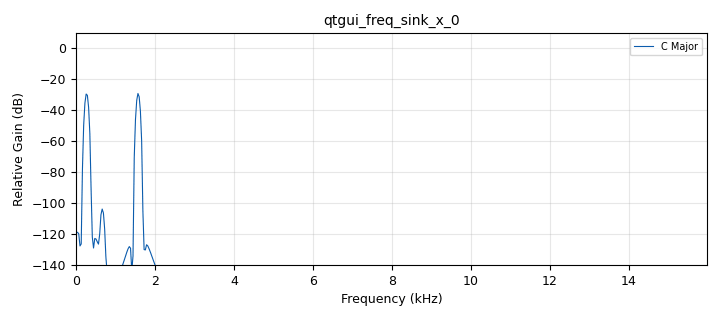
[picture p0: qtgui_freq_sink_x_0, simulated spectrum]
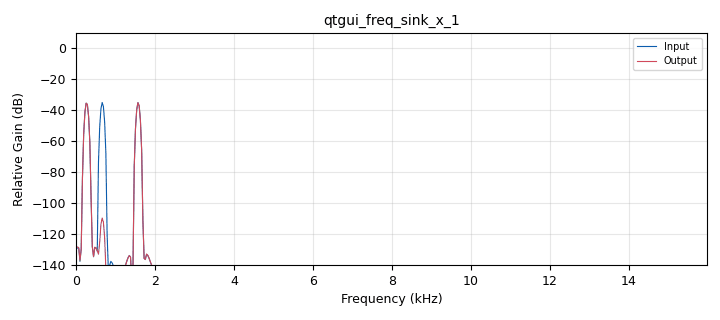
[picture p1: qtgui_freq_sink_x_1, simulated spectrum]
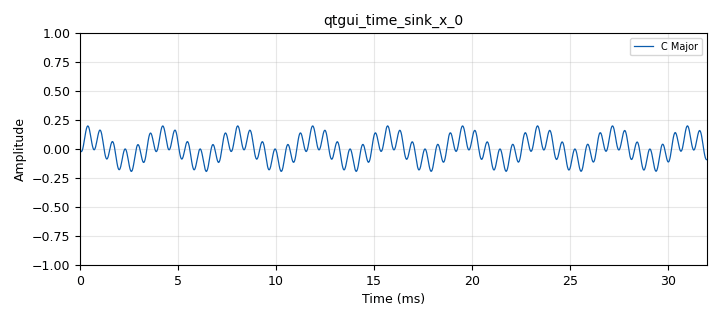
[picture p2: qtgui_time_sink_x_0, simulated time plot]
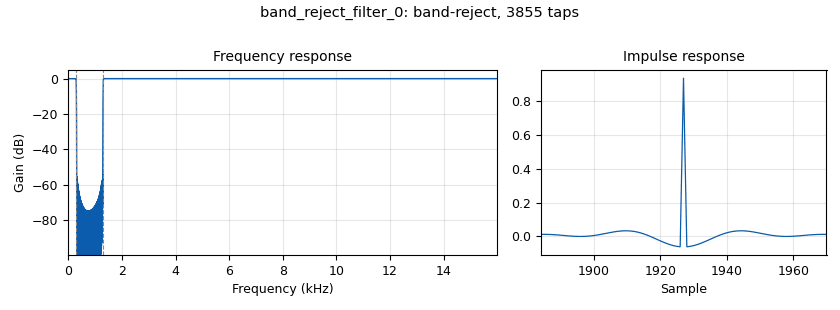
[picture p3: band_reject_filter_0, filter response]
options:
  parameters:
    generate_options: qt_gui
    id: cmajor_fft_brf
    output_language: python
    title: cmajor fft brf
  states: {}

blocks:
- name: Freq
  id: variable_qtgui_entry
  parameters:
    type: real
    value: '200'
  states: {}
- name: high_cutoff
  id: variable_qtgui_range
  parameters:
    label: high_cutoff
    start: '1'
    step: '1'
    stop: 15e3
    value: 1.3e3
  states: {}
- name: low_cutoff
  id: variable_qtgui_range
  parameters:
    label: low_cutoff
    start: '100'
    step: '1'
    stop: 15e3
    value: '300'
  states: {}
- name: samp_rate
  id: variable
  parameters:
    value: '32000'
  states: {}
- name: transition_width
  id: variable_qtgui_range
  parameters:
    label: transition_width
    start: '1'
    step: '1'
    stop: 15e3
    value: '20'
  states: {}
- name: analog_sig_source_x_0
  id: analog_sig_source_x
  parameters:
    amp: '0.1'
    freq: '261.6'
    offset: '0'
    phase: '0'
    samp_rate: samp_rate
    type: float
    waveform: analog.GR_COS_WAVE
  states: {}
- name: analog_sig_source_x_0_0
  id: analog_sig_source_x
  parameters:
    amp: '0.1'
    freq: '1568'
    offset: '0'
    phase: '0'
    samp_rate: samp_rate
    type: float
    waveform: analog.GR_COS_WAVE
  states: {}
- name: analog_sig_source_x_0_1
  id: analog_sig_source_x
  parameters:
    amp: '0.1'
    freq: '659.2'
    offset: '0'
    phase: '0'
    samp_rate: samp_rate
    type: float
    waveform: analog.GR_COS_WAVE
  states: {}
- name: audio_sink_0
  id: audio_sink
  parameters:
    samp_rate: samp_rate
  states: {}
- name: band_reject_filter_0
  id: band_reject_filter
  parameters:
    decim: '1'
    gain: '1'
    high_cutoff_freq: high_cutoff
    low_cutoff_freq: low_cutoff
    samp_rate: samp_rate
    type: fir_filter_fff
    width: transition_width
    win: window.WIN_HAMMING
  states: {}
- name: blocks_add_xx_1
  id: blocks_add_xx
  parameters:
    num_inputs: '3'
    type: float
  states: {}
- name: blocks_throttle_1
  id: blocks_throttle
  parameters:
    samples_per_second: samp_rate
    type: float
  states: {}
- name: qtgui_freq_sink_x_0
  id: qtgui_freq_sink_x
  parameters:
    bw: samp_rate
    ctrlpanel: 'True'
    fc: '0'
    fftsize: '1024'
    freqhalf: 'False'
    grid: 'True'
    label1: C Major
    norm_window: 'True'
    type: float
  states: {}
- name: qtgui_freq_sink_x_1
  id: qtgui_freq_sink_x
  parameters:
    average: '0.2'
    bw: samp_rate
    ctrlpanel: 'True'
    fc: '0'
    fftsize: '1024'
    freqhalf: 'False'
    grid: 'True'
    label1: Input
    label2: Output
    nconnections: '2'
    type: float
  states: {}
- name: qtgui_time_sink_x_0
  id: qtgui_time_sink_x
  parameters:
    ctrlpanel: 'True'
    grid: 'True'
    label1: C Major
    size: '1024'
    srate: samp_rate
    type: float
  states: {}

connections:
- [analog_sig_source_x_0, '0', blocks_add_xx_1, '0']
- [analog_sig_source_x_0_0, '0', blocks_add_xx_1, '2']
- [analog_sig_source_x_0_1, '0', blocks_add_xx_1, '1']
- [band_reject_filter_0, '0', audio_sink_0, '0']
- [band_reject_filter_0, '0', qtgui_freq_sink_x_0, '0']
- [band_reject_filter_0, '0', qtgui_freq_sink_x_1, '1']
- [band_reject_filter_0, '0', qtgui_time_sink_x_0, '0']
- [blocks_add_xx_1, '0', blocks_throttle_1, '0']
- [blocks_add_xx_1, '0', qtgui_freq_sink_x_1, '0']
- [blocks_throttle_1, '0', band_reject_filter_0, '0']

metadata:
  file_format: 1
  grc_version: 3.10.5.1
